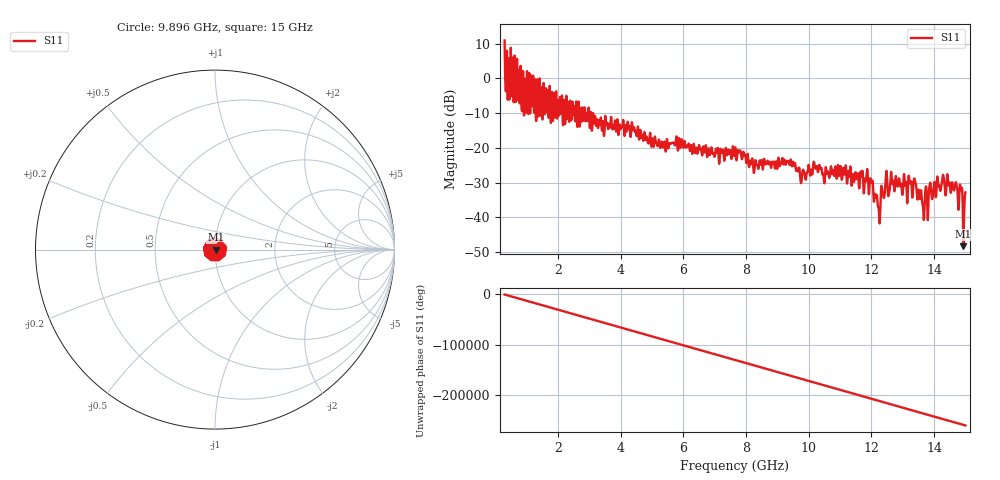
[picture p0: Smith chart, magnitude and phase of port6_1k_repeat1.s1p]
# GHZ S RI R 50.0
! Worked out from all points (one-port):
!   12801 points, 300 MHz to 15 GHz, reference 50 ohm
!   lowest |S11| = -48.3 dB at 14.94 GHz (marker M1), VSWR 1.01, Z = 50.4 - j0.0418 ohm
!   |S11| at or under -10 dB: 2.869 GHz to 2.967 GHz (98.35 MHz wide, 3.37 % of centre); 3.055 GHz to 3.121 GHz (65.94 MHz wide, 2.14 % of centre); 3.122 GHz to end of sweep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
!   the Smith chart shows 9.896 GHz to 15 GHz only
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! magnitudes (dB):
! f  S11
! 300 MHz  10.9
! 399.9 MHz  -6.1
! 752.5 MHz  2.1
! 911 MHz  -9.7
! 1.149 GHz  0.5
! 1.315 GHz  -11.6
! 2.138 GHz  -7.2
! 3.975 GHz  -13.6
! 5.393 GHz  -18.3
! 5.812 GHz  -19.8
! 7.65 GHz  -20.1
! 8.299 GHz  -23.6
! 9.488 GHz  -24.5
! 9.792 GHz  -27.9
! 10.21 GHz  -25.6
! 11.32 GHz  -25.5
! 11.92 GHz  -33.3
! 12.22 GHz  -37.2
! 12.44 GHz  -32.1
! 12.65 GHz  -28.6
! 13.16 GHz  -33.1
! 13.39 GHz  -29.4
! 13.64 GHz  -36.3
! 14.06 GHz  -34.1
! 14.46 GHz  -30.7
! 14.85 GHz  -31.7
! 14.94 GHz  -48.3
! 15 GHz  -32.8
